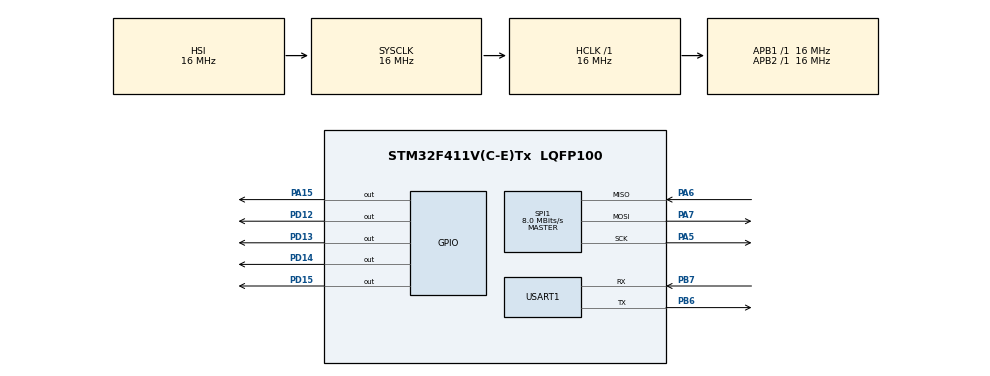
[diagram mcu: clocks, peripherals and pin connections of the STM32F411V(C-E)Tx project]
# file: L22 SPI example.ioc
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Mcu.Family=STM32F4
Mcu.Name=STM32F411V(C-E)Tx
Mcu.Package=LQFP100
NVIC.PriorityGroup=NVIC_PRIORITYGROUP_4
PA15.Signal=GPIO_Output
PA5.Mode=Full_Duplex_Master
PA5.Signal=SPI1_SCK
PA6.Mode=Full_Duplex_Master
PA6.Signal=SPI1_MISO
PA7.Mode=Full_Duplex_Master
PA7.Signal=SPI1_MOSI
PB6.Mode=Asynchronous
PB6.Signal=USART1_TX
PB7.Mode=Asynchronous
PB7.Signal=USART1_RX
PD12.Signal=GPIO_Output
PD13.Signal=GPIO_Output
PD14.Signal=GPIO_Output
PD15.Signal=GPIO_Output
ProjectManager.HeapSize=0x200
ProjectManager.StackSize=0x400
ProjectManager.TargetToolchain=STM32CubeIDE
RCC.AHBFreq_Value=16000000
RCC.APB1Freq_Value=16000000
RCC.APB2Freq_Value=16000000
RCC.CortexFreq_Value=16000000
RCC.HSE_VALUE=25000000
RCC.HSI_VALUE=16000000
RCC.LSE_VALUE=32768
RCC.SYSCLKFreq_VALUE=16000000
RCC.VCOOutputFreq_Value=192000000
SPI1.CalculateBaudRate=8.0 MBits/s
SPI1.Direction=SPI_DIRECTION_2LINES
SPI1.Mode=SPI_MODE_MASTER
SPI1.VirtualType=VM_MASTER
USART1.VirtualMode=VM_ASYNC
VP_FATFS_VS_Generic.Mode=User_defined
board=custom

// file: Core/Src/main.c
/* USER CODE BEGIN Header */
/**
  ******************************************************************************
  * @file           : main.c
  * @brief          : Main program body
  ******************************************************************************
  * @attention
  *
  * <h2><center>&copy; Copyright (c) 2020 STMicroelectronics.
  * All rights reserved.</center></h2>
  *
  * This software component is licensed by ST under BSD 3-Clause license,
  * the "License"; You may not use this file except in compliance with the
  * License. You may obtain a copy of the License at:
  *                        opensource.org/licenses/BSD-3-Clause
  *
  ******************************************************************************
  */
/* USER CODE END Header */

#include "main.h"
#include "fatfs.h"

/* USER CODE BEGIN Includes */
#include <stdio.h>
#include "sd.h"
/* USER CODE END Includes */

SPI_HandleTypeDef hspi1;

UART_HandleTypeDef huart1;

void SystemClock_Config(void);
static void MX_GPIO_Init(void);
static void MX_SPI1_Init(void);
static void MX_USART1_UART_Init(void);

/* USER CODE BEGIN 0 */
uint8_t cmdbuffer[6];
uint8_t resp;

uint8_t outstr[1000];
uint32_t outlen;

uint8_t csdbuffer[16];

FRESULT fres;
FATFS fs;
FIL fil;
UINT numwritten;
/* USER CODE END 0 */

int main(void)
{

  /* MCU Configuration--------------------------------------------------------*/

  /* Reset of all peripherals, Initializes the Flash interface and the Systick. */
  HAL_Init();

  /* Configure the system clock */
  SystemClock_Config();

  /* Initialize all configured peripherals */
  MX_GPIO_Init();
  MX_SPI1_Init();
  MX_USART1_UART_Init();
  MX_FATFS_Init();
  /* USER CODE BEGIN 2 */

  fres = f_mount(&fs, "", 1);
  if (fres == FR_OK) {
	  HAL_UART_Transmit(&huart1, "FS OK!\n", 7, 10);
  }
  else {
	  HAL_UART_Transmit(&huart1, "FS MOUNT ERROR!\n", 16, 10);
  }

  fres = f_open(&fil, "myfile.txt", FA_WRITE | FA_CREATE_ALWAYS);
  if (fres == FR_OK) {
	  HAL_UART_Transmit(&huart1, "f_open OK!\n", 11, 10);
  }
  else {
	  HAL_UART_Transmit(&huart1, "f_open ERROR!\n", 14, 10);
  }

  outlen = sprintf((char*) outstr, "my first file!");
  f_write(&fil, outstr, outlen, &numwritten);

  f_close(&fil);

  /*
  SD_Init();

  // Set CS low
  HAL_GPIO_WritePin(GPIOA, GPIO_PIN_15, GPIO_PIN_RESET);

  SD_SendCommand(9, 0);
  SD_RxDataBlock(csdbuffer, 16);

  outlen = sprintf((char*) outstr,
		  "%02X,%02X,%02X,%02X,%02X,%02X,%02X,%02X,%02X,%02X,%02X,%02X,%02X,%02X,%02X,%02X\n",
		  csdbuffer[0], csdbuffer[1], csdbuffer[2], csdbuffer[3], csdbuffer[4], csdbuffer[5],
		  csdbuffer[6], csdbuffer[7], csdbuffer[8], csdbuffer[9], csdbuffer[10], csdbuffer[11],
		  csdbuffer[12], csdbuffer[13], csdbuffer[14], csdbuffer[15]);

  HAL_UART_Transmit(&huart1, outstr, outlen, 10);
  */

  /*
  // CS = low (enabled)
  HAL_GPIO_WritePin(GPIOA, GPIO_PIN_15, GPIO_PIN_RESET);

  cmdbuffer[0] = 0x40;
  cmdbuffer[1] = 0x0;
  cmdbuffer[2] = 0x0;
  cmdbuffer[3] = 0x0;
  cmdbuffer[4] = 0x0;
  cmdbuffer[5] = 0x95;
  HAL_SPI_Transmit(&hspi1, cmdbuffer, 6, 10);

  HAL_SPI_Receive(&hspi1, &resp, 1, 10);

  outlen = sprintf((char*)outstr, "SD card response = %d", resp);
  HAL_UART_Transmit(&huart1, outstr, outlen, 10);
  */

  /* USER CODE END 2 */

  /* Infinite loop */
  while (1)
  {

  }
}

void SystemClock_Config(void)
{
  RCC_OscInitTypeDef RCC_OscInitStruct = {0};
  RCC_ClkInitTypeDef RCC_ClkInitStruct = {0};

  /** Configure the main internal regulator output voltage
  */
  __HAL_RCC_PWR_CLK_ENABLE();
  __HAL_PWR_VOLTAGESCALING_CONFIG(PWR_REGULATOR_VOLTAGE_SCALE1);
  /** Initializes the CPU, AHB and APB busses clocks
  */
  RCC_OscInitStruct.OscillatorType = RCC_OSCILLATORTYPE_HSI;
  RCC_OscInitStruct.HSIState = RCC_HSI_ON;
  RCC_OscInitStruct.HSICalibrationValue = RCC_HSICALIBRATION_DEFAULT;
  RCC_OscInitStruct.PLL.PLLState = RCC_PLL_NONE;
  if (HAL_RCC_OscConfig(&RCC_OscInitStruct) != HAL_OK)
  {
    Error_Handler();
  }
  /** Initializes the CPU, AHB and APB busses clocks
  */
  RCC_ClkInitStruct.ClockType = RCC_CLOCKTYPE_HCLK|RCC_CLOCKTYPE_SYSCLK
                              |RCC_CLOCKTYPE_PCLK1|RCC_CLOCKTYPE_PCLK2;
  RCC_ClkInitStruct.SYSCLKSource = RCC_SYSCLKSOURCE_HSI;
  RCC_ClkInitStruct.AHBCLKDivider = RCC_SYSCLK_DIV1;
  RCC_ClkInitStruct.APB1CLKDivider = RCC_HCLK_DIV1;
  RCC_ClkInitStruct.APB2CLKDivider = RCC_HCLK_DIV1;

  if (HAL_RCC_ClockConfig(&RCC_ClkInitStruct, FLASH_LATENCY_0) != HAL_OK)
  {
    Error_Handler();
  }
}

static void MX_SPI1_Init(void)
{

  /* SPI1 parameter configuration*/
  hspi1.Instance = SPI1;
  hspi1.Init.Mode = SPI_MODE_MASTER;
  hspi1.Init.Direction = SPI_DIRECTION_2LINES;
  hspi1.Init.DataSize = SPI_DATASIZE_8BIT;
  hspi1.Init.CLKPolarity = SPI_POLARITY_LOW;
  hspi1.Init.CLKPhase = SPI_PHASE_1EDGE;
  hspi1.Init.NSS = SPI_NSS_SOFT;
  hspi1.Init.BaudRatePrescaler = SPI_BAUDRATEPRESCALER_2;
  hspi1.Init.FirstBit = SPI_FIRSTBIT_MSB;
  hspi1.Init.TIMode = SPI_TIMODE_DISABLE;
  hspi1.Init.CRCCalculation = SPI_CRCCALCULATION_DISABLE;
  hspi1.Init.CRCPolynomial = 10;
  if (HAL_SPI_Init(&hspi1) != HAL_OK)
  {
    Error_Handler();
  }

}

static void MX_USART1_UART_Init(void)
{

  huart1.Instance = USART1;
  huart1.Init.BaudRate = 115200;
  huart1.Init.WordLength = UART_WORDLENGTH_8B;
  huart1.Init.StopBits = UART_STOPBITS_1;
  huart1.Init.Parity = UART_PARITY_NONE;
  huart1.Init.Mode = UART_MODE_TX_RX;
  huart1.Init.HwFlowCtl = UART_HWCONTROL_NONE;
  huart1.Init.OverSampling = UART_OVERSAMPLING_16;
  if (HAL_UART_Init(&huart1) != HAL_OK)
  {
    Error_Handler();
  }

}

static void MX_GPIO_Init(void)
{
  GPIO_InitTypeDef GPIO_InitStruct = {0};

  /* GPIO Ports Clock Enable */
  __HAL_RCC_GPIOA_CLK_ENABLE();
  __HAL_RCC_GPIOD_CLK_ENABLE();
  __HAL_RCC_GPIOB_CLK_ENABLE();

  /*Configure GPIO pin Output Level */
  HAL_GPIO_WritePin(GPIOD, GPIO_PIN_12|GPIO_PIN_13|GPIO_PIN_14|GPIO_PIN_15, GPIO_PIN_RESET);

  /*Configure GPIO pin Output Level */
  HAL_GPIO_WritePin(GPIOA, GPIO_PIN_15, GPIO_PIN_RESET);

  /*Configure GPIO pins : PD12 PD13 PD14 PD15 */
  GPIO_InitStruct.Pin = GPIO_PIN_12|GPIO_PIN_13|GPIO_PIN_14|GPIO_PIN_15;
  GPIO_InitStruct.Mode = GPIO_MODE_OUTPUT_PP;
  GPIO_InitStruct.Pull = GPIO_NOPULL;
  GPIO_InitStruct.Speed = GPIO_SPEED_FREQ_LOW;
  HAL_GPIO_Init(GPIOD, &GPIO_InitStruct);

  /*Configure GPIO pin : PA15 */
  GPIO_InitStruct.Pin = GPIO_PIN_15;
  GPIO_InitStruct.Mode = GPIO_MODE_OUTPUT_PP;
  GPIO_InitStruct.Pull = GPIO_NOPULL;
  GPIO_InitStruct.Speed = GPIO_SPEED_FREQ_LOW;
  HAL_GPIO_Init(GPIOA, &GPIO_InitStruct);

}

void Error_Handler(void)
{
}

/************************ (C) COPYRIGHT STMicroelectronics *****END OF FILE****/
